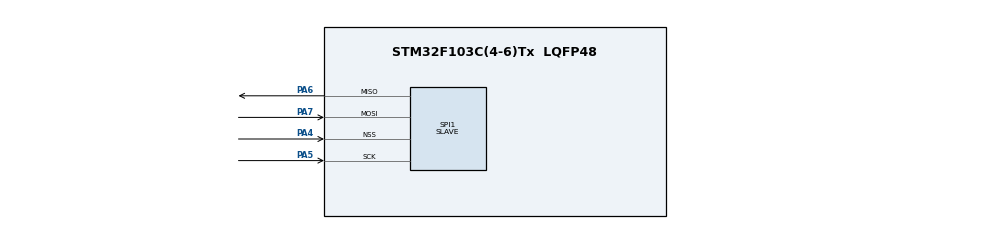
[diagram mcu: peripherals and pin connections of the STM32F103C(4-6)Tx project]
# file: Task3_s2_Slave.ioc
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Mcu.Family=STM32F1
Mcu.Name=STM32F103C(4-6)Tx
Mcu.Package=LQFP48
NVIC.PriorityGroup=NVIC_PRIORITYGROUP_4
PA4.Mode=NSS_Signal_Hard_Input
PA4.Signal=SPI1_NSS
PA5.Mode=Full_Duplex_Slave
PA5.Signal=SPI1_SCK
PA6.Mode=Full_Duplex_Slave
PA6.Signal=SPI1_MISO
PA7.Mode=Full_Duplex_Slave
PA7.Signal=SPI1_MOSI
PD0-OSC_IN.Mode=HSE-External-Oscillator
PD0-OSC_IN.Signal=RCC_OSC_IN
PD1-OSC_OUT.Mode=HSE-External-Oscillator
PD1-OSC_OUT.Signal=RCC_OSC_OUT
ProjectManager.HeapSize=0x200
ProjectManager.StackSize=0x400
ProjectManager.TargetToolchain=STM32CubeIDE
RCC.APB1Freq_Value=8000000
RCC.APB2Freq_Value=8000000
SPI1.DataSize=SPI_DATASIZE_8BIT
SPI1.Direction=SPI_DIRECTION_2LINES
SPI1.Mode=SPI_MODE_SLAVE
SPI1.VirtualNSS=VM_NSSHARD
SPI1.VirtualType=VM_SLAVE
VP_SYS_VS_ND.Mode=No_Debug
board=custom

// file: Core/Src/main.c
/* USER CODE BEGIN Header */
/**
 ******************************************************************************
 * @file           : main.c
 * @brief          : Main program body
 ******************************************************************************
 * @attention
 *
 * Copyright (c) 2025 STMicroelectronics.
 * All rights reserved.
 *
 * This software is licensed under terms that can be found in the LICENSE file
 * in the root directory of this software component.
 * If no LICENSE file comes with this software, it is provided AS-IS.
 *
 ******************************************************************************
 */
/* USER CODE END Header */
#include "main.h"

SPI_HandleTypeDef hspi1;

void SystemClock_Config(void);
static void MX_GPIO_Init(void);
static void MX_SPI1_Init(void);

int main(void) {

	/* MCU Configuration--------------------------------------------------------*/

	/* Reset of all peripherals, Initializes the Flash interface and the Systick. */
	HAL_Init();

	/* Configure the system clock */
	SystemClock_Config();

	/* Initialize all configured peripherals */
	MX_GPIO_Init();
	MX_SPI1_Init();
	/* USER CODE BEGIN 2 */
	uint64_t txData = 0;
	uint64_t rxData = 0;
	uint32_t bat_volt;
	uint32_t speed;
	uint16_t New_ID=0;

	struct ID_Case {
		uint16_t m_bat_volt;
		uint16_t m_speed;
	};

	struct ID_Case ID_Cases[5] = { { 123, 200 }, { 142, 150 }, { 138, 100 }, {
			115, 220 }, { 109, 280 }, };

	/* USER CODE END 2 */

	/* Infinite loop */
	while (1) {

		/* USER CODE BEGIN 3 */

		if (New_ID > 0x1000 && New_ID <= 0x1005) {

		}

		HAL_SPI_TransmitReceive(&hspi1, (uint8_t*) &txData, (uint8_t*) &rxData,
				sizeof(rxData), HAL_MAX_DELAY);

		New_ID = rxData & 0xffff;
		if (New_ID > 0x1000 && New_ID <= 0x1005) {
			uint8_t index = New_ID - 0x1001;
			speed = ID_Cases[index].m_speed;
			bat_volt = ID_Cases[index].m_bat_volt;

			txData = ((uint64_t)(speed & 0x0fff) << 16) | ((uint64_t)(bat_volt & 0x0fff) << 28);
		} else {
			txData=0;
		}

	}
	/* USER CODE END 3 */
}

void SystemClock_Config(void) {
	RCC_OscInitTypeDef RCC_OscInitStruct = { 0 };
	RCC_ClkInitTypeDef RCC_ClkInitStruct = { 0 };

	/** Initializes the RCC Oscillators according to the specified parameters
	 * in the RCC_OscInitTypeDef structure.
	 */
	RCC_OscInitStruct.OscillatorType = RCC_OSCILLATORTYPE_HSI;
	RCC_OscInitStruct.HSIState = RCC_HSI_ON;
	RCC_OscInitStruct.HSICalibrationValue = RCC_HSICALIBRATION_DEFAULT;
	RCC_OscInitStruct.PLL.PLLState = RCC_PLL_NONE;
	if (HAL_RCC_OscConfig(&RCC_OscInitStruct) != HAL_OK) {
		Error_Handler();
	}

	/** Initializes the CPU, AHB and APB buses clocks
	 */
	RCC_ClkInitStruct.ClockType = RCC_CLOCKTYPE_HCLK | RCC_CLOCKTYPE_SYSCLK
			| RCC_CLOCKTYPE_PCLK1 | RCC_CLOCKTYPE_PCLK2;
	RCC_ClkInitStruct.SYSCLKSource = RCC_SYSCLKSOURCE_HSI;
	RCC_ClkInitStruct.AHBCLKDivider = RCC_SYSCLK_DIV1;
	RCC_ClkInitStruct.APB1CLKDivider = RCC_HCLK_DIV1;
	RCC_ClkInitStruct.APB2CLKDivider = RCC_HCLK_DIV1;

	if (HAL_RCC_ClockConfig(&RCC_ClkInitStruct, FLASH_LATENCY_0) != HAL_OK) {
		Error_Handler();
	}
}

static void MX_SPI1_Init(void) {

	/* SPI1 parameter configuration*/
	hspi1.Instance = SPI1;
	hspi1.Init.Mode = SPI_MODE_SLAVE;
	hspi1.Init.Direction = SPI_DIRECTION_2LINES;
	hspi1.Init.DataSize = SPI_DATASIZE_8BIT;
	hspi1.Init.CLKPolarity = SPI_POLARITY_LOW;
	hspi1.Init.CLKPhase = SPI_PHASE_1EDGE;
	hspi1.Init.NSS = SPI_NSS_HARD_INPUT;
	hspi1.Init.FirstBit = SPI_FIRSTBIT_MSB;
	hspi1.Init.TIMode = SPI_TIMODE_DISABLE;
	hspi1.Init.CRCCalculation = SPI_CRCCALCULATION_DISABLE;
	hspi1.Init.CRCPolynomial = 10;
	if (HAL_SPI_Init(&hspi1) != HAL_OK) {
		Error_Handler();
	}

}

static void MX_GPIO_Init(void) {

	/* GPIO Ports Clock Enable */
	__HAL_RCC_GPIOD_CLK_ENABLE();
	__HAL_RCC_GPIOA_CLK_ENABLE();

}

void Error_Handler(void) {
	__disable_irq();
	while (1) {
	}
}
